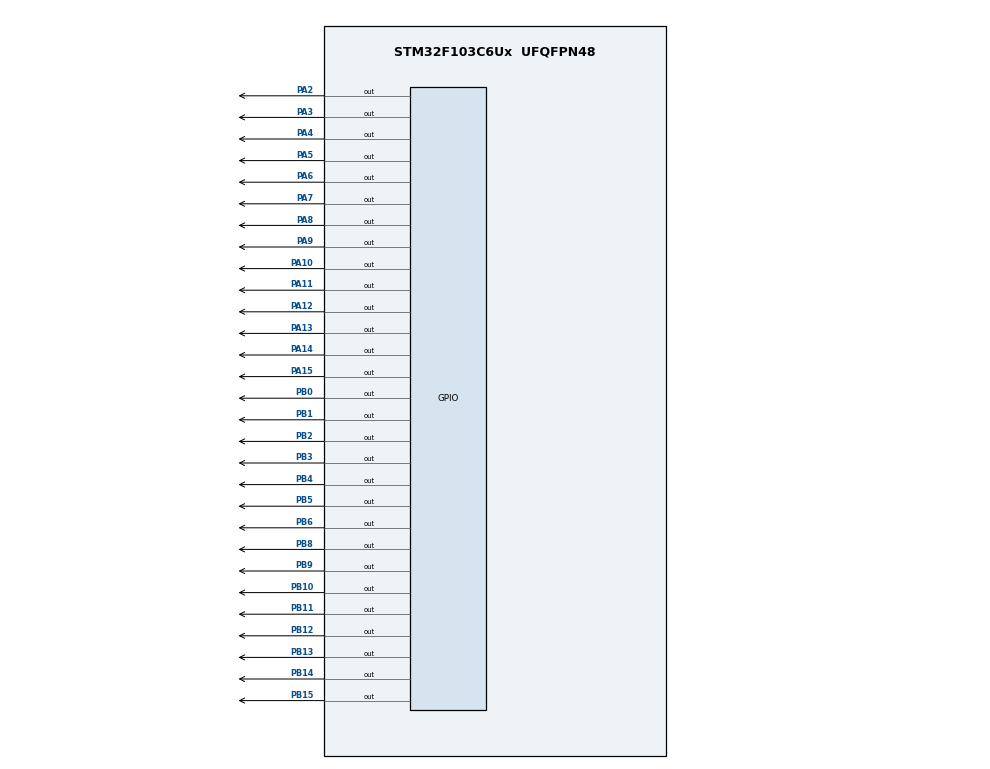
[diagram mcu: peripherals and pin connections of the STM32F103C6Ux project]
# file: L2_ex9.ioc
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Mcu.Family=STM32F1
Mcu.Name=STM32F103C6Ux
Mcu.Package=UFQFPN48
NVIC.PriorityGroup=NVIC_PRIORITYGROUP_4
NVIC.TIM2_IRQn=true\:0\:0\:false\:false\:true\:true\:true
PA10.Signal=GPIO_Output
PA11.Signal=GPIO_Output
PA12.Signal=GPIO_Output
PA13.Signal=GPIO_Output
PA14.Signal=GPIO_Output
PA15.Signal=GPIO_Output
PA2.Signal=GPIO_Output
PA3.Signal=GPIO_Output
PA4.Signal=GPIO_Output
PA5.Signal=GPIO_Output
PA6.Signal=GPIO_Output
PA7.Signal=GPIO_Output
PA8.Signal=GPIO_Output
PA9.Signal=GPIO_Output
PB0.Signal=GPIO_Output
PB1.Signal=GPIO_Output
PB10.Signal=GPIO_Output
PB11.Signal=GPIO_Output
PB12.Signal=GPIO_Output
PB13.Signal=GPIO_Output
PB14.Signal=GPIO_Output
PB15.Signal=GPIO_Output
PB2.Signal=GPIO_Output
PB3.Signal=GPIO_Output
PB4.Signal=GPIO_Output
PB5.Signal=GPIO_Output
PB6.Signal=GPIO_Output
PB8.Signal=GPIO_Output
PB9.Signal=GPIO_Output
ProjectManager.HeapSize=0x200
ProjectManager.StackSize=0x400
ProjectManager.TargetToolchain=STM32CubeIDE
RCC.APB1Freq_Value=8000000
RCC.APB2Freq_Value=8000000
TIM2.Period=9
TIM2.Prescaler=7999
VP_SYS_VS_ND.Mode=No_Debug
VP_TIM2_VS_ClockSourceINT.Mode=Internal
board=custom

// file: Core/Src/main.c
/* USER CODE BEGIN Header */
/**
  ******************************************************************************
  * @file           : main.c
  * @brief          : Main program body
  ******************************************************************************
  * @attention
  *
  * <h2><center>&copy; Copyright (c) 2026 STMicroelectronics.
  * All rights reserved.</center></h2>
  *
  * This software component is licensed by ST under BSD 3-Clause license,
  * the "License"; You may not use this file except in compliance with the
  * License. You may obtain a copy of the License at:
  *                        opensource.org/licenses/BSD-3-Clause
  *
  ******************************************************************************
  */
/* USER CODE END Header */
#include "main.h"

TIM_HandleTypeDef htim2;

/* USER CODE BEGIN PV */
const int MAX_LED_MATRIX = 8;
int index_led_matrix = 0;

uint8_t matrix_buffer[8] =
{
    0x00,
    0xFC,
    0x12,
    0x11,
    0x11,
    0x12,
    0xFC,
    0x00
};
const int MAX_LED = 4;
int index_led = 0;
int led_buffer[4] = {0, 0, 0, 0};

int hour = 15, minute = 8, second = 50;

/* USER CODE END PV */

void SystemClock_Config(void);
static void MX_GPIO_Init(void);
static void MX_TIM2_Init(void);
/* USER CODE BEGIN PFP */
void display7SEG(int num);
void update7SEG(int index);
void updateClockBuffer(void);
void updateLEDMatrix(int index);
void shiftLeft(void);
void createAAnimation(int8_t shift);
/* USER CODE END PFP */

/* USER CODE BEGIN 0 */
volatile int timer0_counter = 0;
volatile int timer0_flag = 0;

volatile int timer1_counter = 0;
volatile int timer1_flag = 0;

volatile int timer2_counter = 0;
volatile int timer2_flag = 0;
int TIMER_CYCLE = 10;
void setTimer0(int duration)
{
    timer0_counter = duration / TIMER_CYCLE;
    timer0_flag = 0;
}

void setTimer1(int duration)
{
    timer1_counter = duration / TIMER_CYCLE;
    timer1_flag = 0;
}

void setTimer2(int duration)
{
    timer2_counter = duration / TIMER_CYCLE;
    timer2_flag = 0;
}

void timer_run(void)
{
    if (timer0_counter > 0)
    {
        timer0_counter--;

        if (timer0_counter == 0)
            timer0_flag = 1;
    }

    if (timer1_counter > 0)
    {
        timer1_counter--;

        if (timer1_counter == 0)
            timer1_flag = 1;
    }

    if (timer2_counter > 0)
    {
        timer2_counter--;

        if (timer2_counter == 0)
            timer2_flag = 1;
    }
}

/* USER CODE END 0 */

int main(void)
{

  /* MCU Configuration--------------------------------------------------------*/

  /* Reset of all peripherals, Initializes the Flash interface and the Systick. */
  HAL_Init();

  /* Configure the system clock */
  SystemClock_Config();

  /* Initialize all configured peripherals */
  MX_GPIO_Init();
  MX_TIM2_Init();
  /* USER CODE BEGIN 2 */
  HAL_GPIO_WritePin(GPIOA, GPIO_PIN_2 | GPIO_PIN_3 | GPIO_PIN_10 | GPIO_PIN_11 |
                           GPIO_PIN_12 | GPIO_PIN_13 | GPIO_PIN_14 | GPIO_PIN_15,
                           GPIO_PIN_SET);

  updateClockBuffer();
  HAL_TIM_Base_Start_IT(&htim2);

  setTimer0(250);
  setTimer1(1000);
  setTimer2(10);
  int8_t shift = 0;
  /* USER CODE END 2 */

  /* Infinite loop */
  /* USER CODE BEGIN WHILE */
  while (1)
  {

      if (timer0_flag == 1)
      {
          update7SEG(index_led);

          index_led++;

          if (index_led >= 4)
          {
              index_led = 0;
          }

          setTimer0(250);
      }

      if (timer2_flag == 1)
      {
          updateLEDMatrix(index_led_matrix);

          index_led_matrix++;

          if (index_led_matrix >= 8)
          {
              index_led_matrix = 0;
          }

          setTimer2(10);
      }

      if (timer1_flag == 1)
      {
          createAAnimation(shift);

          shift++;

          if (shift > 8)
          {
              shift = -8;
          }

          setTimer1(200);
      }
  }
}

void SystemClock_Config(void)
{
  RCC_OscInitTypeDef RCC_OscInitStruct = {0};
  RCC_ClkInitTypeDef RCC_ClkInitStruct = {0};

  /** Initializes the RCC Oscillators according to the specified parameters
  * in the RCC_OscInitTypeDef structure.
  */
  RCC_OscInitStruct.OscillatorType = RCC_OSCILLATORTYPE_HSI;
  RCC_OscInitStruct.HSIState = RCC_HSI_ON;
  RCC_OscInitStruct.HSICalibrationValue = RCC_HSICALIBRATION_DEFAULT;
  RCC_OscInitStruct.PLL.PLLState = RCC_PLL_NONE;
  if (HAL_RCC_OscConfig(&RCC_OscInitStruct) != HAL_OK)
  {
    Error_Handler();
  }
  /** Initializes the CPU, AHB and APB buses clocks
  */
  RCC_ClkInitStruct.ClockType = RCC_CLOCKTYPE_HCLK|RCC_CLOCKTYPE_SYSCLK
                              |RCC_CLOCKTYPE_PCLK1|RCC_CLOCKTYPE_PCLK2;
  RCC_ClkInitStruct.SYSCLKSource = RCC_SYSCLKSOURCE_HSI;
  RCC_ClkInitStruct.AHBCLKDivider = RCC_SYSCLK_DIV1;
  RCC_ClkInitStruct.APB1CLKDivider = RCC_HCLK_DIV1;
  RCC_ClkInitStruct.APB2CLKDivider = RCC_HCLK_DIV1;

  if (HAL_RCC_ClockConfig(&RCC_ClkInitStruct, FLASH_LATENCY_0) != HAL_OK)
  {
    Error_Handler();
  }
}

static void MX_TIM2_Init(void)
{

  TIM_ClockConfigTypeDef sClockSourceConfig = {0};
  TIM_MasterConfigTypeDef sMasterConfig = {0};

  htim2.Instance = TIM2;
  htim2.Init.Prescaler = 7999;
  htim2.Init.CounterMode = TIM_COUNTERMODE_UP;
  htim2.Init.Period = 9;
  htim2.Init.ClockDivision = TIM_CLOCKDIVISION_DIV1;
  htim2.Init.AutoReloadPreload = TIM_AUTORELOAD_PRELOAD_DISABLE;
  if (HAL_TIM_Base_Init(&htim2) != HAL_OK)
  {
    Error_Handler();
  }
  sClockSourceConfig.ClockSource = TIM_CLOCKSOURCE_INTERNAL;
  if (HAL_TIM_ConfigClockSource(&htim2, &sClockSourceConfig) != HAL_OK)
  {
    Error_Handler();
  }
  sMasterConfig.MasterOutputTrigger = TIM_TRGO_RESET;
  sMasterConfig.MasterSlaveMode = TIM_MASTERSLAVEMODE_DISABLE;
  if (HAL_TIMEx_MasterConfigSynchronization(&htim2, &sMasterConfig) != HAL_OK)
  {
    Error_Handler();
  }

}

static void MX_GPIO_Init(void)
{
  GPIO_InitTypeDef GPIO_InitStruct = {0};

  /* GPIO Ports Clock Enable */
  __HAL_RCC_GPIOA_CLK_ENABLE();
  __HAL_RCC_GPIOB_CLK_ENABLE();

  /*Configure GPIO pin Output Level */
  HAL_GPIO_WritePin(GPIOA, GPIO_PIN_2|GPIO_PIN_3|GPIO_PIN_4|GPIO_PIN_5
                          |GPIO_PIN_6|GPIO_PIN_7|GPIO_PIN_8|GPIO_PIN_9
                          |GPIO_PIN_10|GPIO_PIN_11|GPIO_PIN_12|GPIO_PIN_13
                          |GPIO_PIN_14|GPIO_PIN_15, GPIO_PIN_RESET);

  /*Configure GPIO pin Output Level */
  HAL_GPIO_WritePin(GPIOB, GPIO_PIN_0|GPIO_PIN_1|GPIO_PIN_2|GPIO_PIN_10
                          |GPIO_PIN_11|GPIO_PIN_12|GPIO_PIN_13|GPIO_PIN_14
                          |GPIO_PIN_15|GPIO_PIN_3|GPIO_PIN_4|GPIO_PIN_5
                          |GPIO_PIN_6|GPIO_PIN_8|GPIO_PIN_9, GPIO_PIN_RESET);

  /*Configure GPIO pins : PA2 PA3 PA4 PA5
                           PA6 PA7 PA8 PA9
                           PA10 PA11 PA12 PA13
                           PA14 PA15 */
  GPIO_InitStruct.Pin = GPIO_PIN_2|GPIO_PIN_3|GPIO_PIN_4|GPIO_PIN_5
                          |GPIO_PIN_6|GPIO_PIN_7|GPIO_PIN_8|GPIO_PIN_9
                          |GPIO_PIN_10|GPIO_PIN_11|GPIO_PIN_12|GPIO_PIN_13
                          |GPIO_PIN_14|GPIO_PIN_15;
  GPIO_InitStruct.Mode = GPIO_MODE_OUTPUT_PP;
  GPIO_InitStruct.Pull = GPIO_NOPULL;
  GPIO_InitStruct.Speed = GPIO_SPEED_FREQ_LOW;
  HAL_GPIO_Init(GPIOA, &GPIO_InitStruct);

  /*Configure GPIO pins : PB0 PB1 PB2 PB10
                           PB11 PB12 PB13 PB14
                           PB15 PB3 PB4 PB5
                           PB6 PB8 PB9 */
  GPIO_InitStruct.Pin = GPIO_PIN_0|GPIO_PIN_1|GPIO_PIN_2|GPIO_PIN_10
                          |GPIO_PIN_11|GPIO_PIN_12|GPIO_PIN_13|GPIO_PIN_14
                          |GPIO_PIN_15|GPIO_PIN_3|GPIO_PIN_4|GPIO_PIN_5
                          |GPIO_PIN_6|GPIO_PIN_8|GPIO_PIN_9;
  GPIO_InitStruct.Mode = GPIO_MODE_OUTPUT_PP;
  GPIO_InitStruct.Pull = GPIO_NOPULL;
  GPIO_InitStruct.Speed = GPIO_SPEED_FREQ_LOW;
  HAL_GPIO_Init(GPIOB, &GPIO_InitStruct);

}

/* USER CODE BEGIN 4 */
void updateClockBuffer(void) {
    led_buffer[0] = hour / 10;
    led_buffer[1] = hour % 10;
    led_buffer[2] = minute / 10;
    led_buffer[3] = minute % 10;
}

void display7SEG(int num) {
    switch (num) {
        case 0:
            HAL_GPIO_WritePin(GPIOB, GPIO_PIN_0 | GPIO_PIN_1 | GPIO_PIN_2 |
                                     GPIO_PIN_3 | GPIO_PIN_4 | GPIO_PIN_5, GPIO_PIN_RESET);
            HAL_GPIO_WritePin(GPIOB, GPIO_PIN_6, GPIO_PIN_SET);
            break;
        case 1:
            HAL_GPIO_WritePin(GPIOB, GPIO_PIN_1 | GPIO_PIN_2, GPIO_PIN_RESET);
            HAL_GPIO_WritePin(GPIOB, GPIO_PIN_0 | GPIO_PIN_3 | GPIO_PIN_4 |
                                     GPIO_PIN_5 | GPIO_PIN_6, GPIO_PIN_SET);
            break;
        case 2:
            HAL_GPIO_WritePin(GPIOB, GPIO_PIN_0 | GPIO_PIN_1 | GPIO_PIN_3 |
                                     GPIO_PIN_4 | GPIO_PIN_6, GPIO_PIN_RESET);
            HAL_GPIO_WritePin(GPIOB, GPIO_PIN_2 | GPIO_PIN_5, GPIO_PIN_SET);
            break;
        case 3:
            HAL_GPIO_WritePin(GPIOB, GPIO_PIN_0 | GPIO_PIN_1 | GPIO_PIN_2 |
                                     GPIO_PIN_3 | GPIO_PIN_6, GPIO_PIN_RESET);
            HAL_GPIO_WritePin(GPIOB, GPIO_PIN_4 | GPIO_PIN_5, GPIO_PIN_SET);
            break;
        case 4:
            HAL_GPIO_WritePin(GPIOB, GPIO_PIN_1 | GPIO_PIN_2 | GPIO_PIN_5 |
                                     GPIO_PIN_6, GPIO_PIN_RESET);
            HAL_GPIO_WritePin(GPIOB, GPIO_PIN_0 | GPIO_PIN_3 | GPIO_PIN_4, GPIO_PIN_SET);
            break;
        case 5:
            HAL_GPIO_WritePin(GPIOB, GPIO_PIN_0 | GPIO_PIN_2 | GPIO_PIN_3 |
                                     GPIO_PIN_5 | GPIO_PIN_6, GPIO_PIN_RESET);
            HAL_GPIO_WritePin(GPIOB, GPIO_PIN_1 | GPIO_PIN_4, GPIO_PIN_SET);
            break;
        case 6:
            HAL_GPIO_WritePin(GPIOB, GPIO_PIN_0 | GPIO_PIN_2 | GPIO_PIN_3 |
                                     GPIO_PIN_4 | GPIO_PIN_5 | GPIO_PIN_6, GPIO_PIN_RESET);
            HAL_GPIO_WritePin(GPIOB, GPIO_PIN_1, GPIO_PIN_SET);
            break;
        case 7:
            HAL_GPIO_WritePin(GPIOB, GPIO_PIN_0 | GPIO_PIN_1 | GPIO_PIN_2, GPIO_PIN_RESET);
            HAL_GPIO_WritePin(GPIOB, GPIO_PIN_3 | GPIO_PIN_4 | GPIO_PIN_5 |
                                     GPIO_PIN_6, GPIO_PIN_SET);
            break;
        case 8:
            HAL_GPIO_WritePin(GPIOB, GPIO_PIN_0 | GPIO_PIN_1 | GPIO_PIN_2 |
                                     GPIO_PIN_3 | GPIO_PIN_4 | GPIO_PIN_5 |
                                     GPIO_PIN_6, GPIO_PIN_RESET);
            break;
        case 9:
            HAL_GPIO_WritePin(GPIOB, GPIO_PIN_0 | GPIO_PIN_1 | GPIO_PIN_2 |
                                     GPIO_PIN_3 | GPIO_PIN_5 | GPIO_PIN_6, GPIO_PIN_RESET);
            HAL_GPIO_WritePin(GPIOB, GPIO_PIN_4, GPIO_PIN_SET);
            break;
        default:
            HAL_GPIO_WritePin(GPIOB, GPIO_PIN_0 | GPIO_PIN_1 | GPIO_PIN_2 |
                                     GPIO_PIN_3 | GPIO_PIN_4 | GPIO_PIN_5 |
                                     GPIO_PIN_6, GPIO_PIN_SET);
            break;
    }
}

void update7SEG(int index) {
    switch (index) {
        case 0:
            HAL_GPIO_WritePin(GPIOA, GPIO_PIN_6, GPIO_PIN_RESET);
            HAL_GPIO_WritePin(GPIOA, GPIO_PIN_7 | GPIO_PIN_8 | GPIO_PIN_9, GPIO_PIN_SET);
            display7SEG(led_buffer[0]);
            break;
        case 1:
            HAL_GPIO_WritePin(GPIOA, GPIO_PIN_7, GPIO_PIN_RESET);
            HAL_GPIO_WritePin(GPIOA, GPIO_PIN_6 | GPIO_PIN_8 | GPIO_PIN_9, GPIO_PIN_SET);
            display7SEG(led_buffer[1]);
            break;
        case 2:
            HAL_GPIO_WritePin(GPIOA, GPIO_PIN_8, GPIO_PIN_RESET);
            HAL_GPIO_WritePin(GPIOA, GPIO_PIN_6 | GPIO_PIN_7 | GPIO_PIN_9, GPIO_PIN_SET);
            display7SEG(led_buffer[2]);
            break;
        case 3:
            HAL_GPIO_WritePin(GPIOA, GPIO_PIN_9, GPIO_PIN_RESET);
            HAL_GPIO_WritePin(GPIOA, GPIO_PIN_6 | GPIO_PIN_7 | GPIO_PIN_8, GPIO_PIN_SET);
            display7SEG(led_buffer[3]);
            break;
        default:
            break;
    }
}

void updateLEDMatrix(int index)
{

    HAL_GPIO_WritePin(GPIOA,
                      GPIO_PIN_2 | GPIO_PIN_3 |
                      GPIO_PIN_10 | GPIO_PIN_11 |
                      GPIO_PIN_12 | GPIO_PIN_13 |
                      GPIO_PIN_14 | GPIO_PIN_15,
                      GPIO_PIN_SET);

    HAL_GPIO_WritePin(GPIOB, GPIO_PIN_8,
        (matrix_buffer[index] & 0x01) ? GPIO_PIN_RESET : GPIO_PIN_SET);

    HAL_GPIO_WritePin(GPIOB, GPIO_PIN_9,
        (matrix_buffer[index] & 0x02) ? GPIO_PIN_RESET : GPIO_PIN_SET);

    HAL_GPIO_WritePin(GPIOB, GPIO_PIN_10,
        (matrix_buffer[index] & 0x04) ? GPIO_PIN_RESET : GPIO_PIN_SET);

    HAL_GPIO_WritePin(GPIOB, GPIO_PIN_11,
        (matrix_buffer[index] & 0x08) ? GPIO_PIN_RESET : GPIO_PIN_SET);

    HAL_GPIO_WritePin(GPIOB, GPIO_PIN_12,
        (matrix_buffer[index] & 0x10) ? GPIO_PIN_RESET : GPIO_PIN_SET);

    HAL_GPIO_WritePin(GPIOB, GPIO_PIN_13,
        (matrix_buffer[index] & 0x20) ? GPIO_PIN_RESET : GPIO_PIN_SET);

    HAL_GPIO_WritePin(GPIOB, GPIO_PIN_14,
        (matrix_buffer[index] & 0x40) ? GPIO_PIN_RESET : GPIO_PIN_SET);

    HAL_GPIO_WritePin(GPIOB, GPIO_PIN_15,
        (matrix_buffer[index] & 0x80) ? GPIO_PIN_RESET : GPIO_PIN_SET);

    switch(index)
    {
        case 0:
            HAL_GPIO_WritePin(GPIOA, GPIO_PIN_2, GPIO_PIN_RESET);
            break;

        case 1:
            HAL_GPIO_WritePin(GPIOA, GPIO_PIN_3, GPIO_PIN_RESET);
            break;

        case 2:
            HAL_GPIO_WritePin(GPIOA, GPIO_PIN_10, GPIO_PIN_RESET);
            break;

        case 3:
            HAL_GPIO_WritePin(GPIOA, GPIO_PIN_11, GPIO_PIN_RESET);
            break;

        case 4:
            HAL_GPIO_WritePin(GPIOA, GPIO_PIN_12, GPIO_PIN_RESET);
            break;

        case 5:
            HAL_GPIO_WritePin(GPIOA, GPIO_PIN_13, GPIO_PIN_RESET);
            break;

        case 6:
            HAL_GPIO_WritePin(GPIOA, GPIO_PIN_14, GPIO_PIN_RESET);
            break;

        case 7:
            HAL_GPIO_WritePin(GPIOA, GPIO_PIN_15, GPIO_PIN_RESET);
            break;

        default:
            break;
    }
}

void createAAnimation(int8_t shift)
{
    uint8_t A[8] =
    {
        0x00,
        0xFC,
        0x12,
        0x11,
        0x11,
        0x12,
        0xFC,
        0x00
    };

    for (int i = 0; i < 8; i++)
    {
        int src = i + shift;

        if (src >= 0 && src < 8)
            matrix_buffer[i] = A[src];
        else
            matrix_buffer[i] = 0x00;
    }
}
void HAL_TIM_PeriodElapsedCallback(TIM_HandleTypeDef *htim) {
    if (htim->Instance == TIM2) {
        timer_run();
    }
}
/* USER CODE END 4 */

void Error_Handler(void)
{
  __disable_irq();
  while (1)
  {
  }
}

/************************ (C) COPYRIGHT STMicroelectronics *****END OF FILE****/
